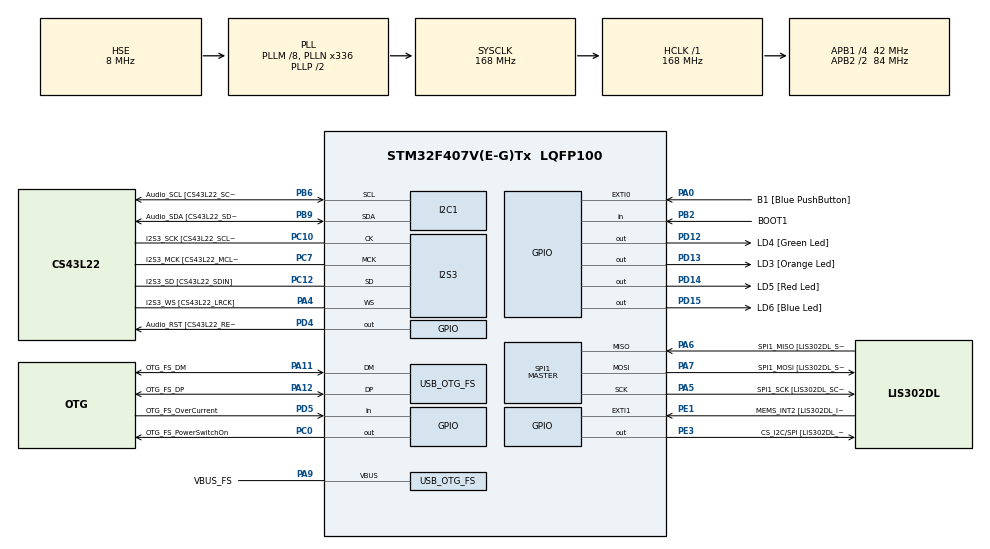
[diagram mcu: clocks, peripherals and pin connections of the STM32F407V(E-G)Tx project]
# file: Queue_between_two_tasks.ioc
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FREERTOS.Queues01=Queue_1,16,uint16_t,0,Dynamic,NULL,NULL
FREERTOS.Tasks01=defaultTask,24,256,StartDefaultTask,Default,NULL,Dynamic,NULL,NULL;button_task,24,256,Start_button_task,Default,NULL,Dynamic,NULL,NULL;print_task,24,256,Start_print_task,Default,NULL,Dynamic,NULL,NULL
FREERTOS.configUSE_NEWLIB_REENTRANT=1
I2S3.AudioFreq-Half_Duplex_Master=I2S_AUDIOFREQ_96K
I2S3.ErrorAudioFreq=-2.34 %
I2S3.ErrorAudioFreq-Half_Duplex_Master=0.8 %
I2S3.FullDuplexMode=I2S_FULLDUPLEXMODE_DISABLE
I2S3.Instance=SPI$Index
I2S3.RealAudioFreq=93.75 KHz
I2S3.RealAudioFreq-Half_Duplex_Master=96.774 KHz
I2S3.VirtualMode=I2S_MODE_MASTER
Mcu.Family=STM32F4
Mcu.Name=STM32F407V(E-G)Tx
Mcu.Package=LQFP100
NVIC.OTG_FS_IRQn=true\:5\:0\:false\:false\:true\:true\:true\:true
NVIC.PriorityGroup=NVIC_PRIORITYGROUP_4
NVIC.TIM6_DAC_IRQn=true\:15\:0\:false\:false\:true\:false\:false\:true
NVIC.TimeBase=TIM6_DAC_IRQn
NVIC.TimeBaseIP=TIM6
PA0-WKUP.GPIO_Label=B1 [Blue PushButton]
PA0-WKUP.GPIO_ModeDefaultEXTI=GPIO_MODE_EVT_RISING
PA0-WKUP.GPIO_PuPd=GPIO_NOPULL
PA0-WKUP.Signal=GPXTI0
PA10.GPIO_Label=OTG_FS_ID
PA10.GPIO_Mode=GPIO_MODE_AF_PP
PA10.GPIO_PuPd=GPIO_NOPULL
PA10.GPIO_Speed=GPIO_SPEED_FREQ_LOW
PA10.Signal=USB_OTG_FS_ID
PA11.GPIO_Label=OTG_FS_DM
PA11.GPIO_Mode=GPIO_MODE_AF_PP
PA11.GPIO_PuPd=GPIO_NOPULL
PA11.GPIO_Speed=GPIO_SPEED_FREQ_LOW
PA11.Mode=Host_Only
PA11.Signal=USB_OTG_FS_DM
PA12.GPIO_Label=OTG_FS_DP
PA12.GPIO_Mode=GPIO_MODE_AF_PP
PA12.GPIO_PuPd=GPIO_NOPULL
PA12.GPIO_Speed=GPIO_SPEED_FREQ_LOW
PA12.Mode=Host_Only
PA12.Signal=USB_OTG_FS_DP
PA13.GPIO_Label=SWDIO
PA13.Mode=Serial_Wire
PA13.Signal=SYS_JTMS-SWDIO
PA14.GPIO_Label=SWCLK
PA14.Mode=Serial_Wire
PA14.Signal=SYS_JTCK-SWCLK
PA4.GPIO_Label=I2S3_WS [CS43L22_LRCK]
PA4.GPIO_Mode=GPIO_MODE_AF_PP
PA4.GPIO_PuPd=GPIO_NOPULL
PA4.GPIO_Speed=GPIO_SPEED_FREQ_LOW
PA4.Mode=Half_Duplex_Master
PA4.Signal=I2S3_WS
PA5.GPIO_Label=SPI1_SCK [LIS302DL_SCL/SPC]
PA5.GPIO_Mode=GPIO_MODE_AF_PP
PA5.GPIO_PuPd=GPIO_NOPULL
PA5.GPIO_Speed=GPIO_SPEED_FREQ_LOW
PA5.Mode=Full_Duplex_Master
PA5.Signal=SPI1_SCK
PA6.GPIO_Label=SPI1_MISO [LIS302DL_SDO]
PA6.GPIO_Mode=GPIO_MODE_AF_PP
PA6.GPIO_PuPd=GPIO_NOPULL
PA6.GPIO_Speed=GPIO_SPEED_FREQ_LOW
PA6.Mode=Full_Duplex_Master
PA6.Signal=SPI1_MISO
PA7.GPIO_Label=SPI1_MOSI [LIS302DL_SDA/SDI/SDO]
PA7.GPIO_Mode=GPIO_MODE_AF_PP
PA7.GPIO_PuPd=GPIO_NOPULL
PA7.GPIO_Speed=GPIO_SPEED_FREQ_LOW
PA7.Mode=Full_Duplex_Master
PA7.Signal=SPI1_MOSI
PA9.GPIO_Label=VBUS_FS
PA9.GPIO_Mode=GPIO_MODE_INPUT
PA9.GPIO_PuPd=GPIO_NOPULL
PA9.Mode=Activate_VBUS
PA9.Signal=USB_OTG_FS_VBUS
PB10.GPIO_Label=CLK_IN [MP45DT02_CLK]
PB10.GPIO_Mode=GPIO_MODE_AF_PP
PB10.GPIO_PuPd=GPIO_NOPULL
PB10.GPIO_Speed=GPIO_SPEED_FREQ_LOW
PB10.Signal=I2S2_CK
PB2.GPIO_Label=BOOT1
PB2.GPIO_Mode=GPIO_MODE_INPUT
PB2.GPIO_PuPd=GPIO_NOPULL
PB2.Signal=GPIO_Input
PB3.GPIO_Label=SWO
PB3.Signal=SYS_JTDO-SWO
PB6.GPIO_Label=Audio_SCL [CS43L22_SCL]
PB6.GPIO_Mode=GPIO_MODE_AF_OD
PB6.GPIO_Pu=GPIO_PULLUP
PB6.GPIO_PuPd=GPIO_NOPULL
PB6.GPIO_Speed=GPIO_SPEED_FREQ_LOW
PB6.Mode=I2C
PB6.Signal=I2C1_SCL
PB9.GPIO_Label=Audio_SDA [CS43L22_SDA]
PB9.GPIO_Mode=GPIO_MODE_AF_OD
PB9.GPIO_Pu=GPIO_PULLUP
PB9.GPIO_PuPd=GPIO_NOPULL
PB9.GPIO_Speed=GPIO_SPEED_FREQ_LOW
PB9.Mode=I2C
PB9.Signal=I2C1_SDA
PC0.GPIO_Label=OTG_FS_PowerSwitchOn
PC0.GPIO_PuPd=GPIO_NOPULL
PC0.GPIO_Speed=GPIO_SPEED_FREQ_LOW
PC0.PinState=GPIO_PIN_SET
PC0.Signal=GPIO_Output
PC10.GPIO_Label=I2S3_SCK [CS43L22_SCLK]
PC10.GPIO_Mode=GPIO_MODE_AF_PP
PC10.GPIO_PuPd=GPIO_NOPULL
PC10.GPIO_Speed=GPIO_SPEED_FREQ_LOW
PC10.Mode=Half_Duplex_Master
PC10.Signal=I2S3_CK
PC12.GPIO_Label=I2S3_SD [CS43L22_SDIN]
PC12.GPIO_Mode=GPIO_MODE_AF_PP
PC12.GPIO_PuPd=GPIO_NOPULL
PC12.GPIO_Speed=GPIO_SPEED_FREQ_LOW
PC12.Mode=Half_Duplex_Master
PC12.Signal=I2S3_SD
PC14-OSC32_IN.GPIO_Label=PC14-OSC32_IN
PC14-OSC32_IN.Mode=LSE-External-Oscillator
PC14-OSC32_IN.Signal=RCC_OSC32_IN
PC15-OSC32_OUT.GPIO_Label=PC15-OSC32_OUT
PC15-OSC32_OUT.Mode=LSE-External-Oscillator
PC15-OSC32_OUT.Signal=RCC_OSC32_OUT
PC3.GPIO_Label=PDM_OUT [MP45DT02_DOUT]
PC3.GPIO_Mode=GPIO_MODE_AF_PP
PC3.GPIO_PuPd=GPIO_NOPULL
PC3.GPIO_Speed=GPIO_SPEED_FREQ_LOW
PC3.Signal=I2S2_SD
PC7.GPIO_Label=I2S3_MCK [CS43L22_MCLK]
PC7.GPIO_Mode=GPIO_MODE_AF_PP
PC7.GPIO_PuPd=GPIO_NOPULL
PC7.GPIO_Speed=GPIO_SPEED_FREQ_LOW
PC7.Mode=Master_Clock_Activated
PC7.Signal=I2S3_MCK
PD12.GPIO_Label=LD4 [Green Led]
PD12.GPIO_PuPd=GPIO_NOPULL
PD12.GPIO_Speed=GPIO_SPEED_FREQ_LOW
PD12.Signal=GPIO_Output
PD13.GPIO_Label=LD3 [Orange Led]
PD13.GPIO_PuPd=GPIO_NOPULL
PD13.GPIO_Speed=GPIO_SPEED_FREQ_LOW
PD13.Signal=GPIO_Output
PD14.GPIO_Label=LD5 [Red Led]
PD14.GPIO_PuPd=GPIO_NOPULL
PD14.GPIO_Speed=GPIO_SPEED_FREQ_LOW
PD14.Signal=GPIO_Output
PD15.GPIO_Label=LD6 [Blue Led]
PD15.GPIO_PuPd=GPIO_NOPULL
PD15.GPIO_Speed=GPIO_SPEED_FREQ_LOW
PD15.Signal=GPIO_Output
PD4.GPIO_Label=Audio_RST [CS43L22_RESET]
PD4.GPIO_PuPd=GPIO_NOPULL
PD4.GPIO_Speed=GPIO_SPEED_FREQ_LOW
PD4.Signal=GPIO_Output
PD5.GPIO_Label=OTG_FS_OverCurrent
PD5.GPIO_Mode=GPIO_MODE_INPUT
PD5.GPIO_PuPd=GPIO_NOPULL
PD5.Signal=GPIO_Input
PE1.GPIO_Label=MEMS_INT2 [LIS302DL_INT2]
PE1.GPIO_ModeDefaultEXTI=GPIO_MODE_EVT_RISING
PE1.GPIO_PuPd=GPIO_NOPULL
PE1.Signal=GPXTI1
PE3.GPIO_Label=CS_I2C/SPI [LIS302DL_CS_I2C/SPI]
PE3.GPIO_PuPd=GPIO_NOPULL
PE3.GPIO_Speed=GPIO_SPEED_FREQ_LOW
PE3.Signal=GPIO_Output
PH0-OSC_IN.GPIO_Label=PH0-OSC_IN
PH0-OSC_IN.Mode=HSE-External-Oscillator
PH0-OSC_IN.Signal=RCC_OSC_IN
PH1-OSC_OUT.GPIO_Label=PH1-OSC_OUT
PH1-OSC_OUT.Mode=HSE-External-Oscillator
PH1-OSC_OUT.Signal=RCC_OSC_OUT
ProjectManager.HeapSize=0x200
ProjectManager.StackSize=0x400
ProjectManager.TargetToolchain=STM32CubeIDE
RCC.48MHZClocksFreq_Value=48000000
RCC.AHBFreq_Value=168000000
RCC.APB1CLKDivider=RCC_HCLK_DIV4
RCC.APB1Freq_Value=42000000
RCC.APB1TimFreq_Value=84000000
RCC.APB2CLKDivider=RCC_HCLK_DIV2
RCC.APB2Freq_Value=84000000
RCC.APB2TimFreq_Value=168000000
RCC.CortexFreq_Value=168000000
RCC.HCLKFreq_Value=168000000
RCC.HSE_VALUE=8000000
RCC.HSI_VALUE=16000000
RCC.PLLM=8
RCC.PLLN=336
RCC.PLLQ=7
RCC.SYSCLKFreq_VALUE=168000000
RCC.SYSCLKSource=RCC_SYSCLKSOURCE_PLLCLK
RCC.VCOOutputFreq_Value=336000000
SPI1.BaudRatePrescaler-Full_Duplex_Master=SPI_BAUDRATEPRESCALER_2
SPI1.CalculateBaudRate-Full_Duplex_Master=42.0 MBits/s
SPI1.Direction=SPI_DIRECTION_2LINES
SPI1.Mode=SPI_MODE_MASTER
SPI1.Mode-Full_Duplex_Master=SPI_MODE_MASTER
SPI1.VirtualType=VM_MASTER
USB_HOST.BSP.number=1
USB_HOST.USBH_HandleTypeDef-CDC_FS=hUsbHostFS
USB_HOST.VirtualModeFS=Cdc
USB_HOST0.BSP.STBoard=false
USB_HOST0.BSP.api=Unknown
USB_HOST0.BSP.i2caddr=0
USB_HOST0.BSP.i2creg=0
USB_HOST0.BSP.instance=PC0
USB_HOST0.BSP.ip=GPIO
USB_HOST0.BSP.mode=Output
USB_HOST0.BSP.name=Drive_VBUS_FS
USB_HOST0.BSP.solution=PC0
USB_OTG_FS.VirtualMode=Host_Only
USB_OTG_FS.phy_itface=HCD_PHY_EMBEDDED
VP_FREERTOS_VS_CMSIS_V2.Mode=CMSIS_V2
VP_SYS_VS_tim6.Mode=TIM6
VP_USB_HOST_VS_USB_HOST_CDC_FS.Mode=CDC_FS
board=STM32F407G-DISC1

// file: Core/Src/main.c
/* USER CODE BEGIN Header */
/**
  ******************************************************************************
  * @file           : main.c
  * @brief          : Main program body
  ******************************************************************************
  * @attention
  *
  * Copyright (c) 2022 STMicroelectronics.
  * All rights reserved.
  *
  * This software is licensed under terms that can be found in the LICENSE file
  * in the root directory of this software component.
  * If no LICENSE file comes with this software, it is provided AS-IS.
  *
  ******************************************************************************
  */
/* USER CODE END Header */
#include "main.h"
#include "cmsis_os.h"
#include "usb_host.h"

/* USER CODE BEGIN Includes */
#include "queue.h"

BaseType_t status;
/* USER CODE END Includes */

I2C_HandleTypeDef hi2c1;

I2S_HandleTypeDef hi2s3;

SPI_HandleTypeDef hspi1;

/* Definitions for defaultTask */
osThreadId_t defaultTaskHandle;
const osThreadAttr_t defaultTask_attributes = {
  .name = "defaultTask",
  .stack_size = 256 * 4,
  .priority = (osPriority_t) osPriorityNormal,
};
/* Definitions for button_task */
osThreadId_t button_taskHandle;
const osThreadAttr_t button_task_attributes = {
  .name = "button_task",
  .stack_size = 256 * 4,
  .priority = (osPriority_t) osPriorityNormal,
};
/* Definitions for print_task */
osThreadId_t print_taskHandle;
const osThreadAttr_t print_task_attributes = {
  .name = "print_task",
  .stack_size = 256 * 4,
  .priority = (osPriority_t) osPriorityNormal,
};
/* Definitions for Queue_1 */
osMessageQueueId_t Queue_1Handle;
const osMessageQueueAttr_t Queue_1_attributes = {
  .name = "Queue_1"
};

void SystemClock_Config(void);
static void MX_GPIO_Init(void);
static void MX_I2C1_Init(void);
static void MX_I2S3_Init(void);
static void MX_SPI1_Init(void);
void StartDefaultTask(void *argument);
void Start_button_task(void *argument);
void Start_print_task(void *argument);

int main(void)
{

  /* MCU Configuration--------------------------------------------------------*/

  /* Reset of all peripherals, Initializes the Flash interface and the Systick. */
  HAL_Init();

  /* Configure the system clock */
  SystemClock_Config();

  /* Initialize all configured peripherals */
  MX_GPIO_Init();
  MX_I2C1_Init();
  MX_I2S3_Init();
  MX_SPI1_Init();

  /* Init scheduler */
  osKernelInitialize();

  /* Create the queue(s) */
  /* creation of Queue_1 */
  Queue_1Handle = osMessageQueueNew (16, sizeof(uint16_t), &Queue_1_attributes);

  /* Create the thread(s) */
  /* creation of defaultTask */
  defaultTaskHandle = osThreadNew(StartDefaultTask, NULL, &defaultTask_attributes);

  /* creation of button_task */
  button_taskHandle = osThreadNew(Start_button_task, NULL, &button_task_attributes);

  /* creation of print_task */
  print_taskHandle = osThreadNew(Start_print_task, NULL, &print_task_attributes);

  /* Start scheduler */
  osKernelStart();

  /* We should never get here as control is now taken by the scheduler */
  /* Infinite loop */
  while (1)
  {

  }
}

void SystemClock_Config(void)
{
  RCC_OscInitTypeDef RCC_OscInitStruct = {0};
  RCC_ClkInitTypeDef RCC_ClkInitStruct = {0};

  /** Configure the main internal regulator output voltage
  */
  __HAL_RCC_PWR_CLK_ENABLE();
  __HAL_PWR_VOLTAGESCALING_CONFIG(PWR_REGULATOR_VOLTAGE_SCALE1);
  /** Initializes the RCC Oscillators according to the specified parameters
  * in the RCC_OscInitTypeDef structure.
  */
  RCC_OscInitStruct.OscillatorType = RCC_OSCILLATORTYPE_HSE;
  RCC_OscInitStruct.HSEState = RCC_HSE_ON;
  RCC_OscInitStruct.PLL.PLLState = RCC_PLL_ON;
  RCC_OscInitStruct.PLL.PLLSource = RCC_PLLSOURCE_HSE;
  RCC_OscInitStruct.PLL.PLLM = 8;
  RCC_OscInitStruct.PLL.PLLN = 336;
  RCC_OscInitStruct.PLL.PLLP = RCC_PLLP_DIV2;
  RCC_OscInitStruct.PLL.PLLQ = 7;
  if (HAL_RCC_OscConfig(&RCC_OscInitStruct) != HAL_OK)
  {
    Error_Handler();
  }
  /** Initializes the CPU, AHB and APB buses clocks
  */
  RCC_ClkInitStruct.ClockType = RCC_CLOCKTYPE_HCLK|RCC_CLOCKTYPE_SYSCLK
                              |RCC_CLOCKTYPE_PCLK1|RCC_CLOCKTYPE_PCLK2;
  RCC_ClkInitStruct.SYSCLKSource = RCC_SYSCLKSOURCE_PLLCLK;
  RCC_ClkInitStruct.AHBCLKDivider = RCC_SYSCLK_DIV1;
  RCC_ClkInitStruct.APB1CLKDivider = RCC_HCLK_DIV4;
  RCC_ClkInitStruct.APB2CLKDivider = RCC_HCLK_DIV2;

  if (HAL_RCC_ClockConfig(&RCC_ClkInitStruct, FLASH_LATENCY_5) != HAL_OK)
  {
    Error_Handler();
  }
}

static void MX_I2C1_Init(void)
{

  hi2c1.Instance = I2C1;
  hi2c1.Init.ClockSpeed = 100000;
  hi2c1.Init.DutyCycle = I2C_DUTYCYCLE_2;
  hi2c1.Init.OwnAddress1 = 0;
  hi2c1.Init.AddressingMode = I2C_ADDRESSINGMODE_7BIT;
  hi2c1.Init.DualAddressMode = I2C_DUALADDRESS_DISABLE;
  hi2c1.Init.OwnAddress2 = 0;
  hi2c1.Init.GeneralCallMode = I2C_GENERALCALL_DISABLE;
  hi2c1.Init.NoStretchMode = I2C_NOSTRETCH_DISABLE;
  if (HAL_I2C_Init(&hi2c1) != HAL_OK)
  {
    Error_Handler();
  }

}

static void MX_I2S3_Init(void)
{

  hi2s3.Instance = SPI3;
  hi2s3.Init.Mode = I2S_MODE_MASTER_TX;
  hi2s3.Init.Standard = I2S_STANDARD_PHILIPS;
  hi2s3.Init.DataFormat = I2S_DATAFORMAT_16B;
  hi2s3.Init.MCLKOutput = I2S_MCLKOUTPUT_ENABLE;
  hi2s3.Init.AudioFreq = I2S_AUDIOFREQ_96K;
  hi2s3.Init.CPOL = I2S_CPOL_LOW;
  hi2s3.Init.ClockSource = I2S_CLOCK_PLL;
  hi2s3.Init.FullDuplexMode = I2S_FULLDUPLEXMODE_DISABLE;
  if (HAL_I2S_Init(&hi2s3) != HAL_OK)
  {
    Error_Handler();
  }

}

static void MX_SPI1_Init(void)
{

  /* SPI1 parameter configuration*/
  hspi1.Instance = SPI1;
  hspi1.Init.Mode = SPI_MODE_MASTER;
  hspi1.Init.Direction = SPI_DIRECTION_2LINES;
  hspi1.Init.DataSize = SPI_DATASIZE_8BIT;
  hspi1.Init.CLKPolarity = SPI_POLARITY_LOW;
  hspi1.Init.CLKPhase = SPI_PHASE_1EDGE;
  hspi1.Init.NSS = SPI_NSS_SOFT;
  hspi1.Init.BaudRatePrescaler = SPI_BAUDRATEPRESCALER_2;
  hspi1.Init.FirstBit = SPI_FIRSTBIT_MSB;
  hspi1.Init.TIMode = SPI_TIMODE_DISABLE;
  hspi1.Init.CRCCalculation = SPI_CRCCALCULATION_DISABLE;
  hspi1.Init.CRCPolynomial = 10;
  if (HAL_SPI_Init(&hspi1) != HAL_OK)
  {
    Error_Handler();
  }

}

static void MX_GPIO_Init(void)
{
  GPIO_InitTypeDef GPIO_InitStruct = {0};

  /* GPIO Ports Clock Enable */
  __HAL_RCC_GPIOE_CLK_ENABLE();
  __HAL_RCC_GPIOC_CLK_ENABLE();
  __HAL_RCC_GPIOH_CLK_ENABLE();
  __HAL_RCC_GPIOA_CLK_ENABLE();
  __HAL_RCC_GPIOB_CLK_ENABLE();
  __HAL_RCC_GPIOD_CLK_ENABLE();

  /*Configure GPIO pin Output Level */
  HAL_GPIO_WritePin(CS_I2C_SPI_GPIO_Port, CS_I2C_SPI_Pin, GPIO_PIN_RESET);

  /*Configure GPIO pin Output Level */
  HAL_GPIO_WritePin(OTG_FS_PowerSwitchOn_GPIO_Port, OTG_FS_PowerSwitchOn_Pin, GPIO_PIN_SET);

  /*Configure GPIO pin Output Level */
  HAL_GPIO_WritePin(GPIOD, LD4_Pin|LD3_Pin|LD5_Pin|LD6_Pin
                          |Audio_RST_Pin, GPIO_PIN_RESET);

  /*Configure GPIO pin : CS_I2C_SPI_Pin */
  GPIO_InitStruct.Pin = CS_I2C_SPI_Pin;
  GPIO_InitStruct.Mode = GPIO_MODE_OUTPUT_PP;
  GPIO_InitStruct.Pull = GPIO_NOPULL;
  GPIO_InitStruct.Speed = GPIO_SPEED_FREQ_LOW;
  HAL_GPIO_Init(CS_I2C_SPI_GPIO_Port, &GPIO_InitStruct);

  /*Configure GPIO pin : OTG_FS_PowerSwitchOn_Pin */
  GPIO_InitStruct.Pin = OTG_FS_PowerSwitchOn_Pin;
  GPIO_InitStruct.Mode = GPIO_MODE_OUTPUT_PP;
  GPIO_InitStruct.Pull = GPIO_NOPULL;
  GPIO_InitStruct.Speed = GPIO_SPEED_FREQ_LOW;
  HAL_GPIO_Init(OTG_FS_PowerSwitchOn_GPIO_Port, &GPIO_InitStruct);

  /*Configure GPIO pin : PDM_OUT_Pin */
  GPIO_InitStruct.Pin = PDM_OUT_Pin;
  GPIO_InitStruct.Mode = GPIO_MODE_AF_PP;
  GPIO_InitStruct.Pull = GPIO_NOPULL;
  GPIO_InitStruct.Speed = GPIO_SPEED_FREQ_LOW;
  GPIO_InitStruct.Alternate = GPIO_AF5_SPI2;
  HAL_GPIO_Init(PDM_OUT_GPIO_Port, &GPIO_InitStruct);

  /*Configure GPIO pin : B1_Pin */
  GPIO_InitStruct.Pin = B1_Pin;
  GPIO_InitStruct.Mode = GPIO_MODE_EVT_RISING;
  GPIO_InitStruct.Pull = GPIO_NOPULL;
  HAL_GPIO_Init(B1_GPIO_Port, &GPIO_InitStruct);

  /*Configure GPIO pin : BOOT1_Pin */
  GPIO_InitStruct.Pin = BOOT1_Pin;
  GPIO_InitStruct.Mode = GPIO_MODE_INPUT;
  GPIO_InitStruct.Pull = GPIO_NOPULL;
  HAL_GPIO_Init(BOOT1_GPIO_Port, &GPIO_InitStruct);

  /*Configure GPIO pin : CLK_IN_Pin */
  GPIO_InitStruct.Pin = CLK_IN_Pin;
  GPIO_InitStruct.Mode = GPIO_MODE_AF_PP;
  GPIO_InitStruct.Pull = GPIO_NOPULL;
  GPIO_InitStruct.Speed = GPIO_SPEED_FREQ_LOW;
  GPIO_InitStruct.Alternate = GPIO_AF5_SPI2;
  HAL_GPIO_Init(CLK_IN_GPIO_Port, &GPIO_InitStruct);

  /*Configure GPIO pins : LD4_Pin LD3_Pin LD5_Pin LD6_Pin
                           Audio_RST_Pin */
  GPIO_InitStruct.Pin = LD4_Pin|LD3_Pin|LD5_Pin|LD6_Pin
                          |Audio_RST_Pin;
  GPIO_InitStruct.Mode = GPIO_MODE_OUTPUT_PP;
  GPIO_InitStruct.Pull = GPIO_NOPULL;
  GPIO_InitStruct.Speed = GPIO_SPEED_FREQ_LOW;
  HAL_GPIO_Init(GPIOD, &GPIO_InitStruct);

  /*Configure GPIO pin : OTG_FS_OverCurrent_Pin */
  GPIO_InitStruct.Pin = OTG_FS_OverCurrent_Pin;
  GPIO_InitStruct.Mode = GPIO_MODE_INPUT;
  GPIO_InitStruct.Pull = GPIO_NOPULL;
  HAL_GPIO_Init(OTG_FS_OverCurrent_GPIO_Port, &GPIO_InitStruct);

  /*Configure GPIO pin : MEMS_INT2_Pin */
  GPIO_InitStruct.Pin = MEMS_INT2_Pin;
  GPIO_InitStruct.Mode = GPIO_MODE_EVT_RISING;
  GPIO_InitStruct.Pull = GPIO_NOPULL;
  HAL_GPIO_Init(MEMS_INT2_GPIO_Port, &GPIO_InitStruct);

}

void StartDefaultTask(void *argument)
{
  /* init code for USB_HOST */
  MX_USB_HOST_Init();
  /* USER CODE BEGIN 5 */
  /* Infinite loop */
  for(;;)
  {
	  HAL_GPIO_WritePin(GPIOD, GPIO_PIN_12, GPIO_PIN_SET);
	  osDelay(100);
	  HAL_GPIO_WritePin(GPIOD, GPIO_PIN_12, GPIO_PIN_RESET);
	  osDelay(900);
  }
  /* USER CODE END 5 */
}

void Start_button_task(void *argument)
{
  /* USER CODE BEGIN Start_button_task */
  /* Infinite loop */
	uint8_t button_status = 0;
	uint16_t test_val_for_queue = 0;

	for(;;)
	{
		osDelay(300);

		button_status = HAL_GPIO_ReadPin(GPIOA, GPIO_PIN_0);
		if(button_status == 1)
		{
			test_val_for_queue++;

			if(test_val_for_queue >= 10)
			{
				test_val_for_queue = 0;
			}
			status = xQueueSend (Queue_1Handle, &test_val_for_queue, 100);
			configASSERT(status == pdPASS);
		}
	}
  /* USER CODE END Start_button_task */
}

void Start_print_task(void *argument)
{
  /* USER CODE BEGIN Start_print_task */
  /* Infinite loop */
	uint8_t test_value_for_read_from_queue = 0;

	for(;;)
	{
		status = xQueueReceive(Queue_1Handle ,&test_value_for_read_from_queue, 10);
		//configASSERT(status == pdPASS);

		while(test_value_for_read_from_queue > 0)
		{
			HAL_GPIO_WritePin(GPIOD, GPIO_PIN_15, GPIO_PIN_SET);
			osDelay(100);
			HAL_GPIO_WritePin(GPIOD, GPIO_PIN_15, GPIO_PIN_RESET);
			osDelay(200);

			test_value_for_read_from_queue--;
		 }

	}
  /* USER CODE END Start_print_task */
}

void HAL_TIM_PeriodElapsedCallback(TIM_HandleTypeDef *htim)
{
  if (htim->Instance == TIM6) {
    HAL_IncTick();
  }
}

void Error_Handler(void)
{
  __disable_irq();
  while (1)
  {
  }
}
